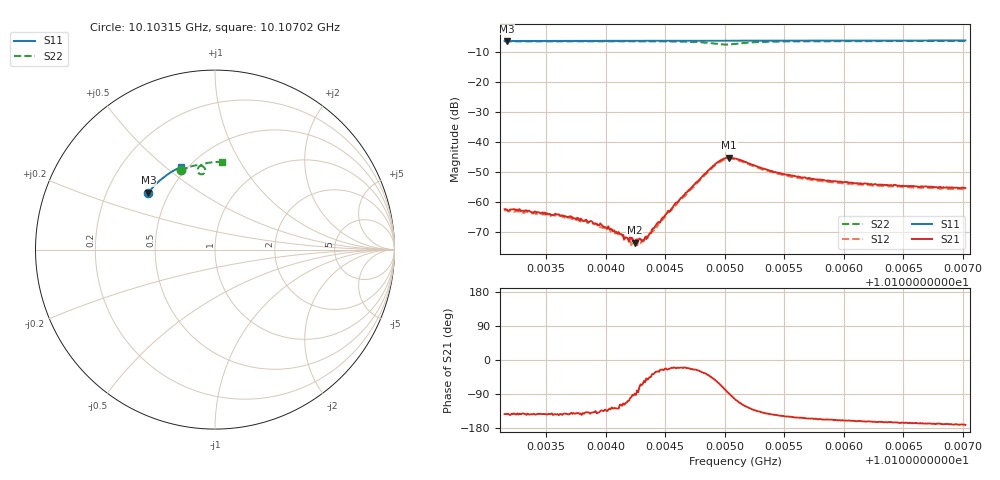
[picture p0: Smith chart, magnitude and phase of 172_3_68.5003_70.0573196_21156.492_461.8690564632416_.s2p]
#  HZ  S  RI  R  50.00
! Rohde & Schwarz Vector Network Analyzer
! Rohde-Schwarz,ZNB20-2Port,1311601062101988,3.16
! Created: UTC 3/20/2024, 5:11:23 PM
! freq[Hz]  re:S11  im:S11  re:S21  im:S21  re:S12  im:S12  re:S22  im:S22
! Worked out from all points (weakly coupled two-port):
!   401 points, 10.10315 GHz to 10.10702 GHz, reference 50 ohm
!   highest |S21| = -45.26 dB at 10.10504 GHz (marker M1); lowest = -73.6 dB at 10.10425 GHz (marker M2)
!   lowest |S11| = -6.2 dB at 10.10317 GHz (marker M3), VSWR 2.91, Z = 19.2 + j16 ohm
!   |S11| at or under -10 dB: nowhere
!   |S22| runs from -7.4 to -6.2 dB; largest |S21 - S12| = 0.00056
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1.0103152e10  -0.3725 0.3159  -0.000599 -0.000457  -0.000516 -0.000478  -0.191 0.4411
1.0103172e10  -0.3715 0.3169  -0.000583 -0.000453  -0.000535 -0.000482  -0.1897 0.4417
1.0103597e10  -0.3552 0.3371  -0.000488 -0.000371  -0.000408 -0.000379  -0.1636 0.4532
1.01038e10  -0.3471 0.3462  -0.000415 -0.000291  -0.000359 -0.000329  -0.1502 0.4581
1.0103916e10  -0.3423 0.3513  -0.000303 -0.000305  -0.000305 -0.000316  -0.1424 0.4608
1.0104052e10  -0.3366 0.3573  -0.000201 -0.000284  -0.00021 -0.00027  -0.1331 0.4636
1.0104129e10  -0.3332 0.3607  -0.000135 -0.000255  -0.00012 -0.000259  -0.1275 0.465
1.0104177e10  -0.3313 0.3628  -9.71e-05 -0.000236  -6.43e-05 -0.000245  -0.1239 0.466
1.0104245e10  -0.3283 0.3656  4.16e-06 -0.000209  3.77e-05 -0.000195  -0.1186 0.4671
1.0104284e10  -0.3267 0.3674  7.74e-05 -0.00023  7.1e-05 -0.000199  -0.1157 0.4678
1.0104322e10  -0.3249 0.369  0.00013 -0.000187  0.000144 -0.000156  -0.1125 0.4683
1.0104361e10  -0.3232 0.3706  0.00018 -0.000203  0.000188 -0.00018  -0.1093 0.469
1.0104448e10  -0.3194 0.3742  0.000394 -0.000239  0.000413 -0.000184  -0.1019 0.4697
1.0104516e10  -0.3163 0.377  0.000588 -0.000276  0.000593 -0.000174  -0.0955 0.4703
1.0104893e10  -0.2989 0.3918  0.00262 -0.00277  0.00276 -0.00242  -0.0543 0.4432
1.010497e10  -0.2953 0.3947  0.0019 -0.00464  0.00227 -0.00422  -0.0616 0.4247
1.0105038e10  -0.2923 0.397  4.34e-05 -0.00546  0.000527 -0.00523  -0.0799 0.4197
1.0105086e10  -0.2901 0.3991  -0.00123 -0.00515  -0.00072 -0.00504  -0.0911 0.4263
1.0105425e10  -0.2739 0.4116  -0.00256 -0.00182  -0.00229 -0.00197  -0.078 0.4705
1.0105734e10  -0.2587 0.4224  -0.00219 -0.00105  -0.00202 -0.00115  -0.0522 0.4807
1.0106382e10  -0.2251 0.4429  -0.00182 -0.000513  -0.00169 -0.000625  -0.00603 0.4875
1.010702e10  -0.1906 0.4603  -0.00168 -0.000256  -0.0016 -0.000408  0.0368 0.4883
